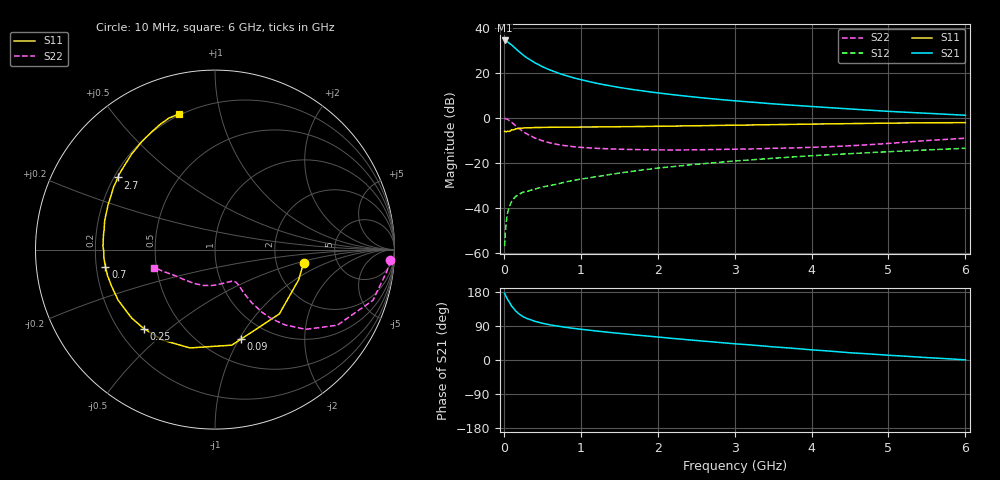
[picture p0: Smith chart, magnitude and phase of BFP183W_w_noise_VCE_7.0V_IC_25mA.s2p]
! Infineon Technologies  Discrete & RF Semiconductors
! BFP183W
! VCE =  7.0 V,  IC =  25 mA
! Common Emitter S-Parameters:  Jan 2017
# GHz  S  MA  R  50
!  f  S11  S21  S12  S22
! GHz  MAG  ANG  MAG  ANG  MAG  ANG  MAG  ANG
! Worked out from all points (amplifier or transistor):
!   77 points, 10 MHz to 6 GHz, reference 50 ohm
!   highest |S21| = 34.4 dB at 10 MHz (marker M1)
!   |S21| within 3 dB of that: start of sweep to 133.5 MHz
!   unconditionally stable (mu >= 1): 1.091 GHz to 3.512 GHz
!   at 130 MHz: K = 0.26, MSG = 33.7 dB, |S12| = -35.9 dB
!   at 2.2 GHz: K = 1.06, MAG = 14.5 dB, |S12| = -21.7 dB
!   at 6 GHz: K = 0.87, MSG = 7.3 dB, |S12| = -13.5 dB
!   lowest NFmin = 1.29 dB at 450 MHz
!   S11 on the Smith chart (normalised r, x): 10 MHz: 2.87, -0.56; 90 MHz: 0.75, -1.02; 250 MHz: 0.30, -0.41; 700 MHz: 0.24, -0.07; 2.7 GHz: 0.22, +0.32; 6 GHz: 0.19, +0.75
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0.01  0.4991 -8.4  52.5 175.9  0.0014 91.7  0.979 -3.5
0.02  0.4956 -19.8  51.48 171.1  0.0029 92.1  0.9647 -7.3
0.05  0.5069 -45.0  48.79 159.3  0.008 74.6  0.9243 -17.8
0.09  0.5188 -73.6  43.03 146.2  0.0125 64.5  0.8211 -28.7
0.1  0.5406 -80.0  42 142.4  0.0137 63.0  0.8006 -31.8
0.15  0.5654 -104.3  35.08 130.1  0.0177 55.8  0.6728 -41.3
0.2  0.5827 -120.1  29.35 121.1  0.0201 51.4  0.573 -47.1
0.25  0.5926 -132.1  24.97 114.3  0.0222 47.7  0.4952 -50.8
0.3  0.6008 -140.7  21.55 109.4  0.023 47.9  0.4362 -53.1
0.4  0.6087 -152.5  16.87 102.1  0.026 48.3  0.3577 -55.4
0.5  0.6112 -160.5  13.72 97.0  0.0289 48.7  0.3091 -56.1
0.6  0.6162 -166.5  11.59 92.8  0.0313 50.6  0.2773 -56.4
0.7  0.6178 -171.2  9.978 89.5  0.0337 53.0  0.2548 -56.3
0.9  0.6196 -178.9  7.806 83.6  0.0404 55.4  0.2289 -56.7
1.1  0.6248 175.3  6.434 78.9  0.046 57.9  0.215 -57.5
1.5  0.6349 165.7  4.739 70.3  0.0591 59.5  0.2002 -61.6
2.1  0.6507 153.7  3.422 58.8  0.0793 59.8  0.1935 -72.8
2.7  0.6739 143.4  2.661 48.1  0.0993 58.0  0.1968 -87.8
3.1  0.6885 137.1  2.318 41.4  0.1128 56.3  0.2017 -98.2
4.1  0.7287 123.3  1.741 25.4  0.1465 50.8  0.2236 -124.4
5.1  0.7646 112.7  1.365 11.4  0.1796 44.8  0.2774 -149.9
6  0.7818 104.8  1.141 0.4  0.2103 38.8  0.352 -163.4
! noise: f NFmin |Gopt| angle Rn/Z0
0.45  1.29  0.25  177  0.1
0.9  1.32  0.28  180  0.09
1.9  1.8  0.43  -158  0.09
2.4  2.04  0.48  -154  0.13
